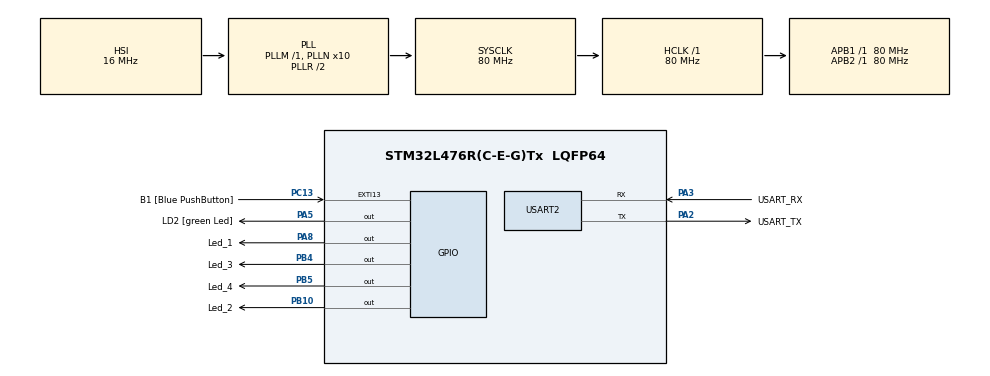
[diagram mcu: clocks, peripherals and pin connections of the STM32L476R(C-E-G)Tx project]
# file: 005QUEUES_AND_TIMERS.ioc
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Mcu.Family=STM32L4
Mcu.Name=STM32L476R(C-E-G)Tx
Mcu.Package=LQFP64
NVIC.EXTI15_10_IRQn=true\:6\:0\:true\:false\:true\:true\:true\:true
NVIC.PriorityGroup=NVIC_PRIORITYGROUP_4
NVIC.TIM6_DAC_IRQn=true\:15\:0\:false\:false\:true\:false\:true\:true
NVIC.TimeBase=TIM6_DAC_IRQn
NVIC.TimeBaseIP=TIM6
NVIC.USART2_IRQn=true\:6\:0\:true\:false\:true\:true\:true\:true
PA13\ (JTMS-SWDIO).GPIO_Label=TMS
PA13\ (JTMS-SWDIO).Mode=Serial_Wire
PA13\ (JTMS-SWDIO).Signal=SYS_JTMS-SWDIO
PA14\ (JTCK-SWCLK).GPIO_Label=TCK
PA14\ (JTCK-SWCLK).Mode=Serial_Wire
PA14\ (JTCK-SWCLK).Signal=SYS_JTCK-SWCLK
PA2.GPIO_Label=USART_TX
PA2.GPIO_Mode=GPIO_MODE_AF_PP
PA2.GPIO_PuPd=GPIO_NOPULL
PA2.GPIO_Speed=GPIO_SPEED_FREQ_VERY_HIGH
PA2.Mode=Asynchronous
PA2.Signal=USART2_TX
PA3.GPIO_Label=USART_RX
PA3.GPIO_Mode=GPIO_MODE_AF_PP
PA3.GPIO_PuPd=GPIO_NOPULL
PA3.GPIO_Speed=GPIO_SPEED_FREQ_VERY_HIGH
PA3.Mode=Asynchronous
PA3.Signal=USART2_RX
PA5.GPIO_Label=LD2 [green Led]
PA5.GPIO_ModeDefaultOutputPP=GPIO_MODE_OUTPUT_PP
PA5.GPIO_PuPd=GPIO_NOPULL
PA5.GPIO_Speed=GPIO_SPEED_FREQ_LOW
PA5.Signal=GPIO_Output
PA8.GPIO_Label=Led_1
PA8.Signal=GPIO_Output
PB10.GPIO_Label=Led_2
PB10.Signal=GPIO_Output
PB3\ (JTDO-TRACESWO).GPIO_Label=SWO
PB3\ (JTDO-TRACESWO).Signal=SYS_JTDO-SWO
PB4\ (NJTRST).GPIO_Label=Led_3
PB4\ (NJTRST).Signal=GPIO_Output
PB5.GPIO_Label=Led_4
PB5.Signal=GPIO_Output
PC13.GPIO_Label=B1 [Blue PushButton]
PC13.GPIO_ModeDefaultEXTI=GPIO_MODE_IT_FALLING
PC13.GPIO_PuPd=GPIO_NOPULL
PC13.Signal=GPXTI13
PC14-OSC32_IN\ (PC14).Signal=RCC_OSC32_IN
PC15-OSC32_OUT\ (PC15).Signal=RCC_OSC32_OUT
PH0-OSC_IN\ (PH0).Signal=RCC_OSC_IN
PH1-OSC_OUT\ (PH1).Signal=RCC_OSC_OUT
ProjectManager.HeapSize=0x200
ProjectManager.StackSize=0x400
ProjectManager.TargetToolchain=STM32CubeIDE
RCC.ADCFreq_Value=64000000
RCC.AHBFreq_Value=80000000
RCC.APB1Freq_Value=80000000
RCC.APB1TimFreq_Value=80000000
RCC.APB2Freq_Value=80000000
RCC.APB2TimFreq_Value=80000000
RCC.CortexFreq_Value=80000000
RCC.HCLKFreq_Value=80000000
RCC.HSE_VALUE=8000000
RCC.HSI_VALUE=16000000
RCC.LSE_VALUE=32768
RCC.MSI_VALUE=4000000
RCC.PLLN=10
RCC.PLLSourceVirtual=RCC_PLLSOURCE_HSI
RCC.PREFETCH_ENABLE=1
RCC.SYSCLKFreq_VALUE=80000000
RCC.SYSCLKSource=RCC_SYSCLKSOURCE_PLLCLK
RCC.USBFreq_Value=64000000
RCC.VCOOutputFreq_Value=160000000
RTC.HourFormat=RTC_HOURFORMAT_12
USART2.VirtualMode-Asynchronous=VM_ASYNC
VP_RTC_VS_RTC_Activate.Mode=RTC_Enabled
VP_SYS_VS_tim6.Mode=TIM6
board=NUCLEO-L476RG

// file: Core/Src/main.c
/* USER CODE BEGIN Header */
/**
  ******************************************************************************
  * @file           : main.c
  * @brief          : Main program body
  ******************************************************************************
  * @attention
  *
  * Copyright (c) 2023 STMicroelectronics.
  * All rights reserved.
  *
  * This software is licensed under terms that can be found in the LICENSE file
  * in the root directory of this software component.
  * If no LICENSE file comes with this software, it is provided AS-IS.
  *
  ******************************************************************************
  */
/* USER CODE END Header */
#include "main.h"

/* USER CODE BEGIN Includes */
#include <stdio.h>
#include "FreeRTOS.h"
#include "task.h"
#include "queue.h"
/* USER CODE END Includes */

RTC_HandleTypeDef hrtc;

UART_HandleTypeDef huart2;

void SystemClock_Config(void);
static void MX_GPIO_Init(void);
static void MX_USART2_UART_Init(void);
static void MX_RTC_Init(void);
/* USER CODE BEGIN PFP */
void led_effect_callback(TimerHandle_t xTimer);
/* USER CODE END PFP */

/* USER CODE BEGIN 0 */
/*TASKS HANDLERS*/
TaskHandle_t Menu_task_handle;
TaskHandle_t LED_task_handle;
TaskHandle_t RTC_task_handle;
TaskHandle_t Print_task_handle;
TaskHandle_t Command_handling_task_handle;

/*QUEUES HANDLERS*/
QueueHandle_t Queue_data;
QueueHandle_t Queue_print;

/*Array for handlers of software timers*/
TimerHandle_t handle_led_timer[4];

volatile uint8_t user_data;
state_t curr_state = sMainMenu;
/* USER CODE END 0 */

int main(void)
{
  /* USER CODE BEGIN 1 */
	/*This variables are to create the tasks*/

	int status;
  /* USER CODE END 1 */

  /* MCU Configuration--------------------------------------------------------*/

  /* Reset of all peripherals, Initializes the Flash interface and the Systick. */
  HAL_Init();

  /* Configure the system clock */
  SystemClock_Config();

  /* Initialize all configured peripherals */
  MX_GPIO_Init();
  MX_USART2_UART_Init();
  MX_RTC_Init();
  /* USER CODE BEGIN 2 */

  /*Initialization of UART for SEGGER Real time debug*/
  //SEGGER_UART_init(200000);

  /*Starting recording of segger systemview events*/
  //SEGGER_SYSVIEW_Conf();
  //SEGGER_SYSVIEW_Start(); //is commented because it is called in the SEGGER_UART_init(), this when we want real time debbuging

  /*Here we are creating the tasks*/
  status = xTaskCreate(Menu_task, "Menu_task", 200, NULL, 2, &Menu_task_handle);
  /*With this config assert that is located in FreeRTOSConfig.h if the status variable is 0 then it will enter to an infinite loop, it will help
   * to debug issues*/
  configASSERT(status = pdPASS);

  status = xTaskCreate(LED_task, "LED_task", 200, NULL, 2, &LED_task_handle);
  configASSERT(status = pdPASS);

  status = xTaskCreate(RTC_task, "RTC_task", 200, NULL, 2, &RTC_task_handle);
  configASSERT(status = pdPASS);

  status = xTaskCreate(Print_task, "Print_task", 200, NULL, 2, &Print_task_handle);
  configASSERT(status = pdPASS);

  status = xTaskCreate(Command_handling_task, "Command_handling_task", 200, NULL, 2, &Command_handling_task_handle);
  configASSERT(status = pdPASS);

  /* Create a queue that will save the data received from user */
  Queue_data = xQueueCreate( 10, sizeof( char ) );

  configASSERT( Queue_data != NULL );

  /* Create a queue that will sent the data to the user */
  Queue_print = xQueueCreate( 10, sizeof( size_t ) );

  configASSERT( Queue_print != NULL );

  /*Create software timers for led EFFECTS*/
  for(int i = 0 ; i<4 ; i++)
  {
	  handle_led_timer[i] =  xTimerCreate("led_timer", pdMS_TO_TICKS(500), pdTRUE, (void*)(i+1), led_effect_callback);
  }

  /*Enable UART receive interrupt*/
  HAL_UART_Receive_IT(&huart2, (uint8_t*)&user_data, 1);

  /*Here we are starting the FreeRTOS scheduler*/
  vTaskStartScheduler();

  /*If the control comes here, then the launch of the scheduler has failed due to insufficient memory in heap*/

  /* USER CODE END 2 */

  /* Infinite loop */
  while (1)
  {

  }
}

void SystemClock_Config(void)
{
  RCC_OscInitTypeDef RCC_OscInitStruct = {0};
  RCC_ClkInitTypeDef RCC_ClkInitStruct = {0};

  /** Configure the main internal regulator output voltage
  */
  if (HAL_PWREx_ControlVoltageScaling(PWR_REGULATOR_VOLTAGE_SCALE1) != HAL_OK)
  {
    Error_Handler();
  }

  /** Initializes the RCC Oscillators according to the specified parameters
  * in the RCC_OscInitTypeDef structure.
  */
  RCC_OscInitStruct.OscillatorType = RCC_OSCILLATORTYPE_HSI|RCC_OSCILLATORTYPE_LSI;
  RCC_OscInitStruct.HSIState = RCC_HSI_ON;
  RCC_OscInitStruct.HSICalibrationValue = RCC_HSICALIBRATION_DEFAULT;
  RCC_OscInitStruct.LSIState = RCC_LSI_ON;
  RCC_OscInitStruct.PLL.PLLState = RCC_PLL_ON;
  RCC_OscInitStruct.PLL.PLLSource = RCC_PLLSOURCE_HSI;
  RCC_OscInitStruct.PLL.PLLM = 1;
  RCC_OscInitStruct.PLL.PLLN = 10;
  RCC_OscInitStruct.PLL.PLLP = RCC_PLLP_DIV7;
  RCC_OscInitStruct.PLL.PLLQ = RCC_PLLQ_DIV2;
  RCC_OscInitStruct.PLL.PLLR = RCC_PLLR_DIV2;
  if (HAL_RCC_OscConfig(&RCC_OscInitStruct) != HAL_OK)
  {
    Error_Handler();
  }

  /** Initializes the CPU, AHB and APB buses clocks
  */
  RCC_ClkInitStruct.ClockType = RCC_CLOCKTYPE_HCLK|RCC_CLOCKTYPE_SYSCLK
                              |RCC_CLOCKTYPE_PCLK1|RCC_CLOCKTYPE_PCLK2;
  RCC_ClkInitStruct.SYSCLKSource = RCC_SYSCLKSOURCE_PLLCLK;
  RCC_ClkInitStruct.AHBCLKDivider = RCC_SYSCLK_DIV1;
  RCC_ClkInitStruct.APB1CLKDivider = RCC_HCLK_DIV1;
  RCC_ClkInitStruct.APB2CLKDivider = RCC_HCLK_DIV1;

  if (HAL_RCC_ClockConfig(&RCC_ClkInitStruct, FLASH_LATENCY_4) != HAL_OK)
  {
    Error_Handler();
  }
}

static void MX_RTC_Init(void)
{

  /** Initialize RTC Only
  */
  hrtc.Instance = RTC;
  hrtc.Init.HourFormat = RTC_HOURFORMAT_12;
  hrtc.Init.AsynchPrediv = 127;
  hrtc.Init.SynchPrediv = 255;
  hrtc.Init.OutPut = RTC_OUTPUT_DISABLE;
  hrtc.Init.OutPutRemap = RTC_OUTPUT_REMAP_NONE;
  hrtc.Init.OutPutPolarity = RTC_OUTPUT_POLARITY_HIGH;
  hrtc.Init.OutPutType = RTC_OUTPUT_TYPE_OPENDRAIN;
  if (HAL_RTC_Init(&hrtc) != HAL_OK)
  {
    Error_Handler();
  }

}

static void MX_USART2_UART_Init(void)
{

  huart2.Instance = USART2;
  huart2.Init.BaudRate = 115200;
  huart2.Init.WordLength = UART_WORDLENGTH_8B;
  huart2.Init.StopBits = UART_STOPBITS_1;
  huart2.Init.Parity = UART_PARITY_NONE;
  huart2.Init.Mode = UART_MODE_TX_RX;
  huart2.Init.HwFlowCtl = UART_HWCONTROL_NONE;
  huart2.Init.OverSampling = UART_OVERSAMPLING_16;
  huart2.Init.OneBitSampling = UART_ONE_BIT_SAMPLE_DISABLE;
  huart2.AdvancedInit.AdvFeatureInit = UART_ADVFEATURE_NO_INIT;
  if (HAL_UART_Init(&huart2) != HAL_OK)
  {
    Error_Handler();
  }

}

static void MX_GPIO_Init(void)
{
  GPIO_InitTypeDef GPIO_InitStruct = {0};

  /* GPIO Ports Clock Enable */
  __HAL_RCC_GPIOC_CLK_ENABLE();
  __HAL_RCC_GPIOH_CLK_ENABLE();
  __HAL_RCC_GPIOA_CLK_ENABLE();
  __HAL_RCC_GPIOB_CLK_ENABLE();

  /*Configure GPIO pin Output Level */
  HAL_GPIO_WritePin(GPIOA, LD2_Pin|Led_1_Pin, GPIO_PIN_RESET);

  /*Configure GPIO pin Output Level */
  HAL_GPIO_WritePin(GPIOB, Led_2_Pin|Led_3_Pin|Led_4_Pin, GPIO_PIN_RESET);

  /*Configure GPIO pin : B1_Pin */
  GPIO_InitStruct.Pin = B1_Pin;
  GPIO_InitStruct.Mode = GPIO_MODE_IT_FALLING;
  GPIO_InitStruct.Pull = GPIO_NOPULL;
  HAL_GPIO_Init(B1_GPIO_Port, &GPIO_InitStruct);

  /*Configure GPIO pins : LD2_Pin Led_1_Pin */
  GPIO_InitStruct.Pin = LD2_Pin|Led_1_Pin;
  GPIO_InitStruct.Mode = GPIO_MODE_OUTPUT_PP;
  GPIO_InitStruct.Pull = GPIO_NOPULL;
  GPIO_InitStruct.Speed = GPIO_SPEED_FREQ_LOW;
  HAL_GPIO_Init(GPIOA, &GPIO_InitStruct);

  /*Configure GPIO pins : Led_2_Pin Led_3_Pin Led_4_Pin */
  GPIO_InitStruct.Pin = Led_2_Pin|Led_3_Pin|Led_4_Pin;
  GPIO_InitStruct.Mode = GPIO_MODE_OUTPUT_PP;
  GPIO_InitStruct.Pull = GPIO_NOPULL;
  GPIO_InitStruct.Speed = GPIO_SPEED_FREQ_LOW;
  HAL_GPIO_Init(GPIOB, &GPIO_InitStruct);

  /* EXTI interrupt init*/
  HAL_NVIC_SetPriority(EXTI15_10_IRQn, 6, 0);
  HAL_NVIC_EnableIRQ(EXTI15_10_IRQn);

}

/* USER CODE BEGIN 4 */
/*Whenever data byte is received this callback will be called*/
void HAL_UART_RxCpltCallback(UART_HandleTypeDef *huart)
{
	uint8_t dummy;
	if ( !xQueueIsQueueFullFromISR(Queue_data) )
	{
		/*Enqueue Data byte*/
		xQueueSendFromISR(Queue_data, (void*)&user_data, NULL);
	}else{
		if (user_data == '\n')
		{
			/*Make sure that the last data byte of the queue is \n*/
			xQueueReceiveFromISR(Queue_data, (void*)&dummy, NULL);
			xQueueSendFromISR(Queue_data, (void*)&user_data, NULL);
		}
	}

	if (user_data == '\n')
	{
		/*Send notification to command handling task*/
		xTaskNotifyFromISR(Command_handling_task_handle, 0, eNoAction, NULL);
	}
	  /*Enable UART receive interrupt*/
	  HAL_UART_Receive_IT(&huart2, (uint8_t*)&user_data, 1);

}

/*Implementing callback for software timers*/
void led_effect_callback(TimerHandle_t xTimer)
{
	int id;
	id = (uint32_t) pvTimerGetTimerID(xTimer);

	switch(id)
	{
	case 1:
		LED_effect1();
		break;
	case 2:
		LED_effect2();
		break;
	case 3:
		LED_effect3();
		break;
	case 4:
		LED_effect4();
		break;
	}
}

/* USER CODE END 4 */

void HAL_TIM_PeriodElapsedCallback(TIM_HandleTypeDef *htim)
{
  if (htim->Instance == TIM6) {
    HAL_IncTick();
  }
}

void Error_Handler(void)
{
  __disable_irq();
  while (1)
  {
  }
}
